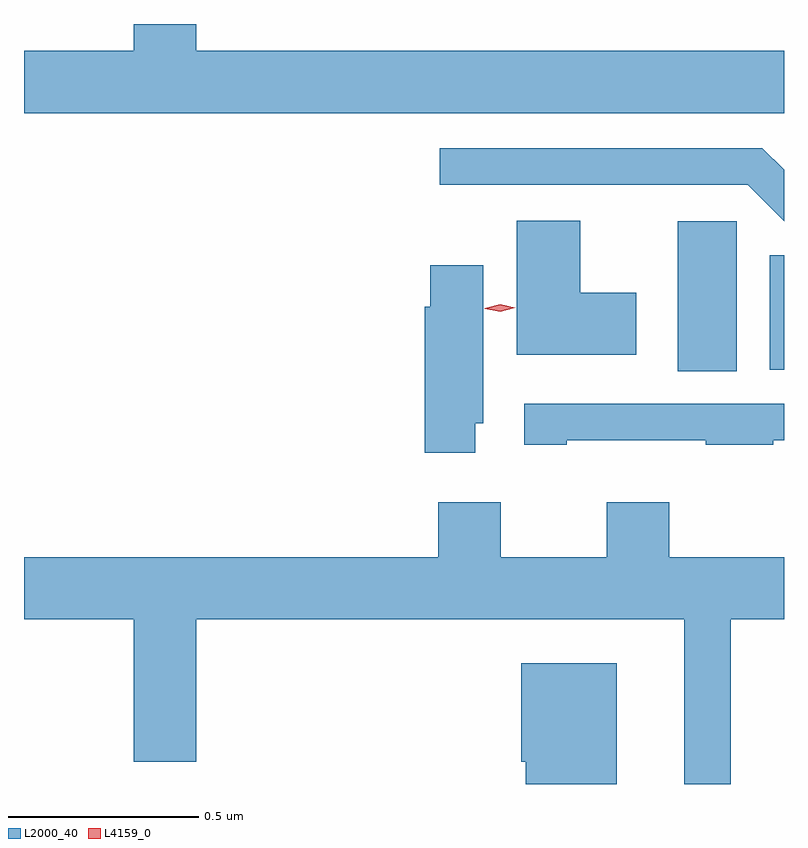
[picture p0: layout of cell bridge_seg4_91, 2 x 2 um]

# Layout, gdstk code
import gdstk
lib = gdstk.Library(unit=1e-6, precision=1e-09)
def R(c, l, rs):  # rectangles x0, y0, x1, y1
    for r in rs: c.add(gdstk.rectangle(r[:2], r[2:], *l))
def P(c, l, *ps):  # polygons
    for p in ps: c.add(gdstk.Polygon(p, *l))
L2000_40 = (2000, 40)
L4159_0 = (4159, 0)

bridge_seg4_91 = lib.new_cell('bridge_seg4_91')
R(bridge_seg4_91, L2000_40, [(466.139,789.481,466.294,789.876), (466.382,789.485,466.419,789.787)])
P(bridge_seg4_91, L2000_40, [(466.419,790.324),(464.872,790.324),(464.872,790.395),(464.708,790.395),(464.708,790.324),(464.419,790.324),(464.419,790.16),(466.419,790.16)],
  [(466.419,790.011),(466.362,790.068),(465.513,790.068),(465.513,789.972),(466.323,789.972),(466.419,789.876)],
  [(466.03,789.688),(465.883,789.688),(465.883,789.877),(465.716,789.877),(465.716,789.524),(466.03,789.524)],
  [(465.607,789.345),(465.628,789.345),(465.628,789.76),(465.488,789.76),(465.488,789.651),(465.473,789.651),(465.473,789.267),(465.607,789.267)],
  [(465.847,789.299),(466.213,789.299),(466.213,789.288),(466.391,789.288),(466.391,789.299),(466.419,789.299),(466.419,789.396),(465.735,789.396),(465.735,789.288),(465.847,789.288)],
  [(466.279,788.828),(466.419,788.828),(466.419,788.992),(466.117,788.992),(466.117,789.136),(465.953,789.136),(465.953,788.992),(465.673,788.992),(465.673,789.136),(465.509,789.136),(465.509,788.992),(464.419,788.992),(464.419,788.828),(464.708,788.828),(464.708,788.454),(464.872,788.454),(464.872,788.828),(466.157,788.828),(466.157,788.395),(466.279,788.395)],
  [(465.979,788.713),(465.728,788.713),(465.728,788.454),(465.74,788.454),(465.74,788.395),(465.979,788.395)])
P(bridge_seg4_91, L4159_0, [(465.672,789.638),(465.632,789.646),(465.631,789.647),(465.632,789.647),(465.672,789.657),(465.712,789.648),(465.712,789.648),(465.712,789.648)])

lib.write_gds('bridge_seg4_91.gds')
